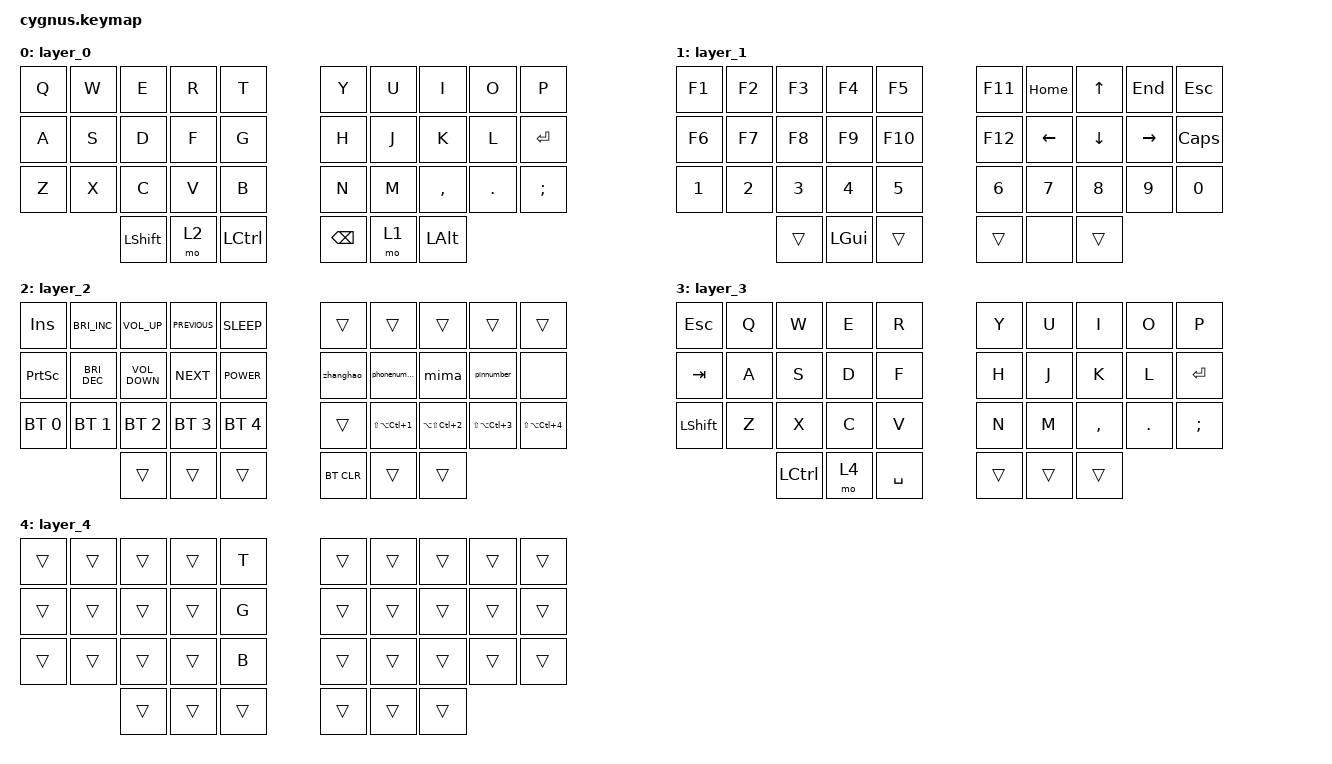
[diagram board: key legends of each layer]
/*
 * Copyright (c) 2020 The ZMK Contributors
 *
 * SPDX-License-Identifier: MIT
 */

#include <behaviors.dtsi>
#include <dt-bindings/zmk/bt.h>
#include <dt-bindings/zmk/keys.h>

&mt {
    tapping-term-ms = <200>;
    flavor = "tap-preferred";
};

&sk {
    release-after-ms = <2000>;
    quick-release;
};

/ {
    combos {
        compatible = "zmk,combos";

        K1 {
            bindings = <&kp LEFT_PARENTHESIS>;
            key-positions = <3 13>;
            timeout-ms = <30>;
            layers = <0>;
        };

        K2 {
            bindings = <&kp RIGHT_PARENTHESIS>;
            key-positions = <6 16>;
            timeout-ms = <30>;
            layers = <0>;
        };

        K3 {
            bindings = <&kp LEFT_BRACKET>;
            key-positions = <2 12>;
            timeout-ms = <30>;
            layers = <0>;
        };

        K4 {
            bindings = <&kp RIGHT_BRACKET>;
            key-positions = <7 17>;
            timeout-ms = <30>;
            layers = <0>;
        };

        K5 {
            bindings = <&kp LESS_THAN>;
            key-positions = <14 13>;
            timeout-ms = <30>;
            layers = <0>;
        };

        K6 {
            bindings = <&kp GREATER_THAN>;
            key-positions = <16 15>;
            timeout-ms = <30>;
            layers = <0>;
        };

        K7 {
            bindings = <&kp LEFT_BRACE>;
            key-positions = <4 14>;
            timeout-ms = <30>;
            layers = <0>;
        };

        K8 {
            bindings = <&kp RIGHT_BRACE>;
            key-positions = <5 15>;
            timeout-ms = <30>;
            layers = <0>;
        };

        K9 {
            bindings = <&kp SQT>;
            key-positions = <24 23>;
            timeout-ms = <30>;
            layers = <0>;
        };

        K10 {
            bindings = <&kp DOUBLE_QUOTES>;
            key-positions = <26 25>;
            timeout-ms = <30>;
            layers = <0>;
        };

        K11 {
            bindings = <&kp PLUS>;
            key-positions = <23 13>;
            timeout-ms = <30>;
            layers = <0>;
        };

        K12 {
            bindings = <&kp MINUS>;
            key-positions = <26 16>;
            timeout-ms = <30>;
            layers = <0>;
        };

        K13 {
            bindings = <&kp ASTERISK>;
            key-positions = <22 12>;
            timeout-ms = <30>;
            layers = <0>;
        };

        K14 {
            bindings = <&kp PERCENT>;
            key-positions = <27 17>;
            timeout-ms = <30>;
            layers = <0>;
        };

        K15 {
            bindings = <&kp NON_US_BACKSLASH>;
            key-positions = <24 14>;
            timeout-ms = <30>;
            layers = <0>;
        };

        K16 {
            bindings = <&kp SLASH>;
            key-positions = <25 15>;
            timeout-ms = <30>;
            layers = <0>;
        };

        K17 {
            bindings = <&kp TAB>;
            key-positions = <23 22>;
            timeout-ms = <30>;
            layers = <0>;
        };

        K18 {
            bindings = <&kp ENTER>;
            key-positions = <17 16>;
            timeout-ms = <30>;
            layers = <0>;
        };

        K19 {
            bindings = <&kp CARET>;
            key-positions = <1 2>;
            timeout-ms = <30>;
            layers = <0>;
        };

        K20 {
            bindings = <&kp HASH>;
            key-positions = <11 12>;
            timeout-ms = <30>;
            layers = <0>;
        };

        K21 {
            bindings = <&kp DOLLAR>;
            key-positions = <22 21>;
            timeout-ms = <30>;
            layers = <0>;
        };

        K22 {
            bindings = <&kp AMPERSAND>;
            key-positions = <8 7>;
            layers = <0>;
            timeout-ms = <30>;
        };

        K23 {
            bindings = <&kp EXCLAMATION>;
            key-positions = <18 17>;
            timeout-ms = <30>;
            layers = <0>;
        };

        K24 {
            bindings = <&kp AT_SIGN>;
            key-positions = <28 27>;
            timeout-ms = <30>;
            layers = <0>;
        };

        K25 {
            bindings = <&kp LEFT_WIN>;
            key-positions = <31 34>;
        };

        K26 {
            bindings = <&kp ESCAPE>;
            key-positions = <27 26>;
            timeout-ms = <30>;
            layers = <0>;
        };

        K27 {
            bindings = <&kp EQUAL>;
            key-positions = <7 6>;
            timeout-ms = <30>;
            layers = <0>;
        };

        K28 {
            bindings = <&to 3>;
            key-positions = <8 7 6>;
            layers = <0>;
        };

        K29 {
            bindings = <&to 0>;
            key-positions = <8 7 6>;
            layers = <3>;
        };

        K30 {
            bindings = <&kp SPACE>;
            key-positions = <13 12>;
            timeout-ms = <30>;
            layers = <0>;
        };

        K31 {
            bindings = <&kp DELETE>;
            key-positions = <33 32>;
        };

        K32 {
            bindings = <&kp GRAVE>;
            key-positions = <3 2>;
            timeout-ms = <30>;
            layers = <0>;
        };
    };

    behaviors {
        hm: homerow_mods {
            compatible = "zmk,behavior-hold-tap";
            label = "HOMEROW_MODS";
            #binding-cells = <2>;
            tapping-term-ms = <200>;
            quick_tap_ms = <0>;
            flavor = "tap-preferred";
            bindings = <&kp>, <&kp>;

            quick-tap-ms = <180>;
            global-quick-tap;
        };

        ltq: ltq {
            compatible = "zmk,behavior-hold-tap";
            label = "LTQ";
            #binding-cells = <2>;
            tapping-term-ms = <250>;
            quick_tap_ms = <0>;
            flavor = "hold-preferred";
            bindings = <&mo>, <&kp>;

            quick-tap-ms = <200>;
            global-quick-tap;
        };
    };

    macros {
        zhanghao: zhanghao {
            compatible = "zmk,behavior-macro";
            #binding-cells = <0>;
            bindings = <&kp N2 &kp N5 &kp N7 &kp N4 &kp N4 &kp N7 &kp N0 &kp N1 &kp N8 &kp N3>;
            label = "ZHANGHAO";
        };

        mima: mima {
            compatible = "zmk,behavior-macro";
            #binding-cells = <0>;
            bindings = <&zhanghao &kp Z &kp LS(Z)>;
            label = "MIMA";
        };

        phonenumber: phonenumber {
            compatible = "zmk,behavior-macro";
            #binding-cells = <0>;
            bindings = <&kp N1 &kp N9 &kp N5 &kp N1 &kp N1 &kp N6 &kp N8 &kp N1 &kp N0 &kp N7 &kp N2>;
            label = "PHONENUMBER";
        };

        pinnumber: pinnumber {
            compatible = "zmk,behavior-macro";
            #binding-cells = <0>;
            bindings = <&kp N7 &kp N5 &kp N8 &kp N2 &kp N1 &kp N6>;
            label = "PINNUMBER";
        };
    };

    keymap {
        compatible = "zmk,keymap";

        layer_0 {
            bindings = <
&kp Q             &kp W         &kp E             &kp R  &kp T     &kp Y            &kp U  &kp I      &kp O    &kp P
&kp A             &kp S         &kp D             &kp F  &kp G     &kp H            &kp J  &kp K      &kp L    &kp RET
&kp Z             &kp X         &kp C             &kp V  &kp B     &kp N            &kp M  &kp COMMA  &kp DOT  &kp SEMI
       &kp LSHFT         &mo 2         &kp LCTRL         &kp BSPC  &mo 1  &kp LALT
            >;
        };

        layer_1 {
            bindings = <
&kp F1          &kp F2            &kp F3          &kp F4  &kp F5   &kp F11          &kp HOME  &kp UP    &kp END    &kp ESC
&kp F6          &kp F7            &kp F8          &kp F9  &kp F10  &kp F12          &kp LEFT  &kp DOWN  &kp RIGHT  &kp CAPS
&kp N1          &kp N2            &kp N3          &kp N4  &kp N5   &kp N6           &kp N7    &kp N8    &kp N9     &kp N0
        &trans          &kp LGUI          &trans          &trans   &none    &trans
            >;
        };

        layer_2 {
            bindings = <
&kp INS               &kp C_BRIGHTNESS_INC          &kp C_VOLUME_UP            &kp K_PREVIOUS  &kp K_SLEEP   &trans             &trans                    &trans                    &trans                    &trans
&kp PSCRN             &kp C_BRIGHTNESS_DEC          &kp C_VOLUME_DOWN          &kp K_NEXT      &kp K_POWER   &zhanghao          &phonenumber              &mima                     &pinnumber                &none
&bt BT_SEL 0          &bt BT_SEL 1                  &bt BT_SEL 2               &bt BT_SEL 3    &bt BT_SEL 4  &trans             &kp LS(LA(LC(NUMBER_1)))  &kp LA(LS(LC(NUMBER_2)))  &kp LS(LA(LC(NUMBER_3)))  &kp LS(LA(LC(NUMBER_4)))
              &trans                        &trans                     &trans                  &bt BT_CLR    &trans     &trans
            >;
        };

        layer_3 {
            bindings = <
&kp ESC               &kp Q         &kp W             &kp E  &kp R   &kp Y           &kp U  &kp I      &kp O    &kp P
&kp TAB               &kp A         &kp S             &kp D  &kp F   &kp H           &kp J  &kp K      &kp L    &kp RET
&kp LSHFT             &kp Z         &kp X             &kp C  &kp V   &kp N           &kp M  &kp COMMA  &kp DOT  &kp SEMI
           &kp LCTRL         &mo 4         &kp SPACE         &trans  &trans  &trans
            >;
        };

        layer_4 {
            bindings = <
&trans          &trans          &trans          &trans  &kp T   &trans          &trans  &trans  &trans  &trans
&trans          &trans          &trans          &trans  &kp G   &trans          &trans  &trans  &trans  &trans
&trans          &trans          &trans          &trans  &kp B   &trans          &trans  &trans  &trans  &trans
        &trans          &trans          &trans          &trans  &trans  &trans
            >;
        };
    };
};
